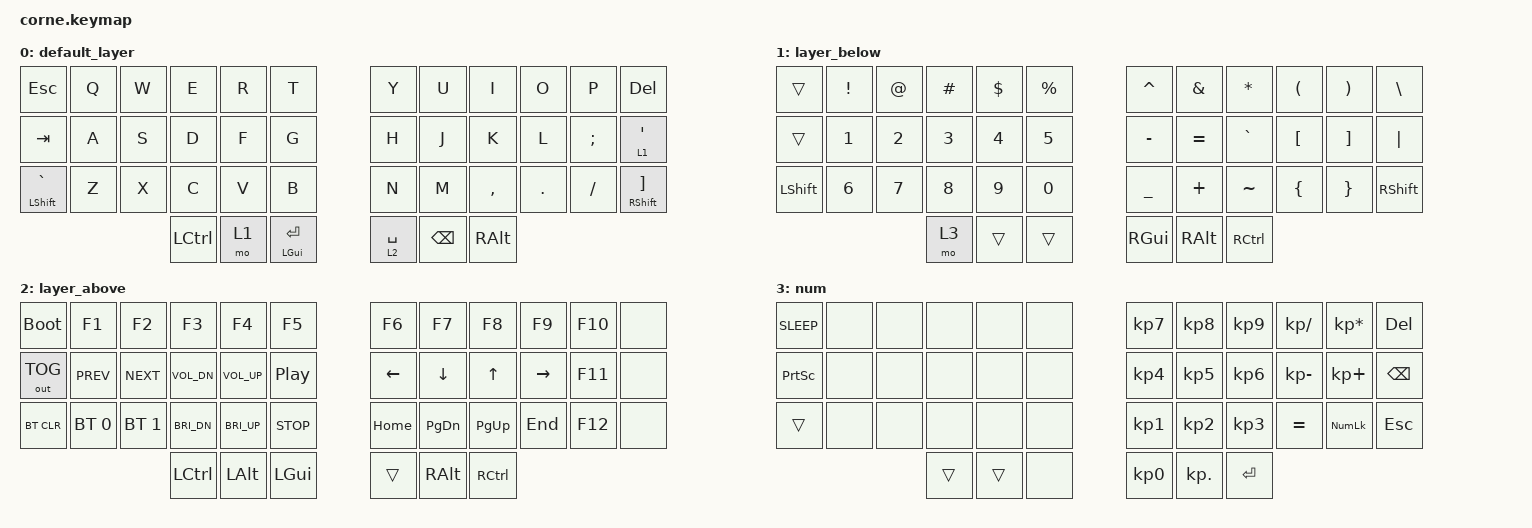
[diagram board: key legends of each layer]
/*
 * Copyright (c) 2020 The ZMK Contributors
 *
 * SPDX-License-Identifier: MIT
 */

#include <behaviors.dtsi>
#include <dt-bindings/zmk/bt.h>
#include <dt-bindings/zmk/keys.h>
#include <dt-bindings/zmk/outputs.h>

/ {
    behaviors {
        tp: tap_preferred {
            compatible = "zmk,behavior-hold-tap";
            label = "TAP_PREFERRED";
            #binding-cells = <2>;
            tapping-term-ms = <150>;
            quick-tap-ms = <0>;
            flavor = "tap-preferred";
            bindings = <&kp>, <&kp>;
        };
    };

    combos {
        compatible = "zmk,combos";

        en {
            bindings = <&kp LG(F11)>;
            key-positions = <13 14>;
        };

        ru {
            bindings = <&kp LG(F12)>;
            key-positions = <22 21>;
        };
    };

    keymap {
        compatible = "zmk,keymap";

        default_layer {
            // -----------------------------------------------------------------------------------------
            // | TAB  |  Q  |  W  |  E  |  R  |    T    |   |  Y  |  U   |  I  |  O  |  P  | ESC |
            // | CTRL |  A  |  S  |  D  |  F  |    G    |   |  H  |  J   |  K  |  L  |  ;  |  LWR/'   |
            // | SHFT |  Z  |  X  |  C  |  V  |    B    |   |  N  |  M   |  ,  |  .  |  /  | SHFT |
            //                    | GUI | LWR | ALT/ENT |   | HYPER/SPC | BKSP  | RSE |

            bindings = <
&kp ESC          &kp Q  &kp W  &kp E             &kp R  &kp T               &kp Y        &kp U     &kp I          &kp O    &kp P     &kp DELETE
&kp TAB          &kp A  &kp S  &kp D             &kp F  &kp G               &kp H        &kp J     &kp K          &kp L    &kp SEMI  &lt 1 SQT
&mt LSHFT GRAVE  &kp Z  &kp X  &kp C             &kp V  &kp B               &kp N        &kp M     &kp COMMA      &kp DOT  &kp FSLH  &mt RSHFT RIGHT_BRACKET
                               &kp LEFT_CONTROL  &mo 1  &mt LEFT_GUI RET    &lt 2 SPACE  &kp BSPC  &kp RIGHT_ALT
            >;
        };

        layer_below {
            // -----------------------------------------------------------------------------------------
            // |      |  !  |  @  |  #  |  $  |    %     |   |  ^  |  &  |  *  |  (  |  )  |   \   |
            // |      |  1  |  2  |  3  |  4  |    5     |   |  -  |  =  |  `  |  [  |  ]  |  "|"  |
            // | SHFT |  6  |  7  |  8  |  9  |    0     |   |  _  |  +  |  ~  |  {  |  }  | RSHFT |
            //                     | GUI |     | ALT/ENT |   | HYPER/SPACE | BKSP |    |

            bindings = <
&trans     &kp EXCL  &kp AT  &kp HASH  &kp DLLR  &kp PRCNT    &kp CARET      &kp AMPS       &kp ASTERISK       &kp LPAR  &kp RPAR  &kp BSLH
&trans     &kp N1    &kp N2  &kp N3    &kp N4    &kp N5       &kp MINUS      &kp EQUAL      &kp GRAVE          &kp LBKT  &kp RBKT  &kp PIPE
&kp LSHFT  &kp N6    &kp N7  &kp N8    &kp N9    &kp N0       &kp UNDER      &kp PLUS       &kp TILDE          &kp LBRC  &kp RBRC  &kp RSHFT
                             &mo 3     &trans    &trans       &kp RIGHT_GUI  &kp RIGHT_ALT  &kp RIGHT_CONTROL
            >;
        };

        layer_above {
            // -----------------------------------------------------------------------------------------
            // |       |  F1  |  F2  |  F3  |  F4  |  F5 |            |  F6  |  F7  |  F8  |  F9  |  F10  |   |
            // |       | Prev | Next | Vol - | Vol + | Play/Pause |   |      | LFT | DWN |  UP | RGT |     |     |
            // | BTCLR | BT1 | BT2 | BT3 | BT4 | BT5 |   |            |     |     |     |     |     |     |
            //                    |     |     |    |                  |     |     |     |

            bindings = <
&bootloader   &kp F1        &kp F2        &kp F3            &kp F4        &kp F5          &kp F6    &kp F7         &kp F8             &kp F9     &kp F10  &none
&out OUT_TOG  &kp C_PREV    &kp C_NEXT    &kp C_VOL_DN      &kp C_VOL_UP  &kp C_PP        &kp LEFT  &kp DOWN       &kp UP             &kp RIGHT  &kp F11  &none
&bt BT_CLR    &bt BT_SEL 0  &bt BT_SEL 1  &kp C_BRI_DN      &kp C_BRI_UP  &kp C_STOP      &kp HOME  &kp PAGE_DOWN  &kp PAGE_UP        &kp END    &kp F12  &none
                                          &kp LEFT_CONTROL  &kp LEFT_ALT  &kp LEFT_GUI    &trans    &kp RIGHT_ALT  &kp RIGHT_CONTROL
            >;
        };

        num {
            bindings = <
&kp C_SLEEP      &none  &none  &none   &none   &none    &kp KP_N7  &kp KP_N8   &kp KP_N9  &kp KP_DIVIDE  &kp KP_MULTIPLY  &kp DELETE
&kp PRINTSCREEN  &none  &none  &none   &none   &none    &kp KP_N4  &kp KP_N5   &kp KP_N6  &kp KP_MINUS   &kp KP_PLUS      &kp BACKSPACE
&trans           &none  &none  &none   &none   &none    &kp KP_N1  &kp KP_N2   &kp KP_N3  &kp EQUAL      &kp KP_NUM       &kp ESCAPE
                               &trans  &trans  &none    &kp KP_N0  &kp KP_DOT  &kp RET
            >;
        };
    };
};
